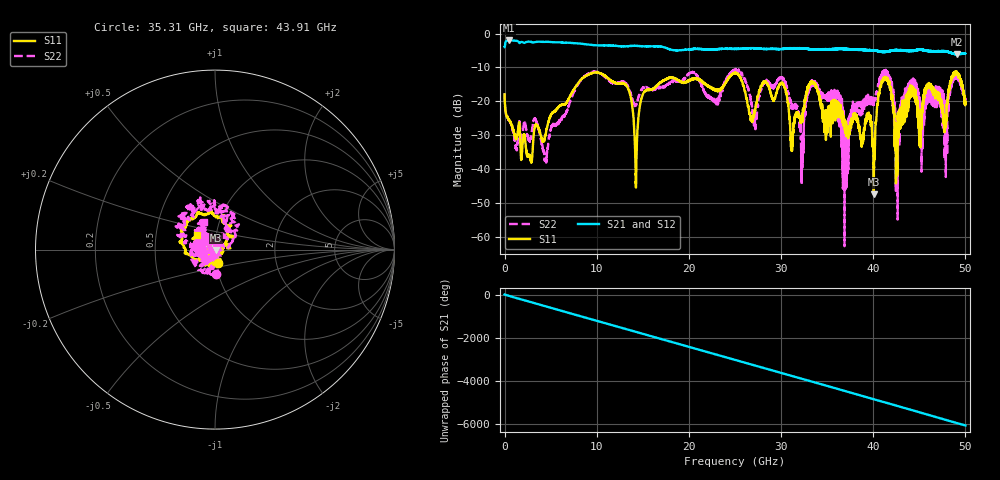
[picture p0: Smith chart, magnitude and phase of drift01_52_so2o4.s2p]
!Created with skrf (http://scikit-rf.org).
# Hz S RI R 50.0
!freq ReS11 ImS11 ReS21 ImS21 ReS12 ImS12 ReS22 ImS22
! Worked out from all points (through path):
!   10001 points, 300 kHz to 50 GHz, reference 50 ohm
!   highest |S21| = -2.00 dB at 490.3 MHz (marker M1); lowest = -6.1 dB at 49.05 GHz (marker M2)
!   group delay of S21, straight-line fit = 336 ps
!   lowest |S11| = -47.5 dB at 40.06 GHz (marker M3), VSWR 1.01, Z = 50.4 - j0.194 ohm
!   |S11| at or under -10 dB: start of sweep to end of sweep
!   |S22| runs from -62.9 to -10.4 dB; largest |S21 - S12| = 0.022
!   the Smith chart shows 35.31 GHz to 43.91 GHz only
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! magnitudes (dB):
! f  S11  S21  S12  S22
! 300 kHz  -17.9  -3.9  -4.0  -17.7
! 490.3 MHz  -25.5  -2.0  -2.0  -25.4
! 4.435 GHz  -30.0  -2.4  -2.4  -37.1
! 8.335 GHz  -13.5  -3.0  -3.0  -13.5
! 13.16 GHz  -15.2  -3.8  -3.7  -14.7
! 14.25 GHz  -45.5  -3.6  -3.6  -21.1
! 16.67 GHz  -14.9  -3.7  -3.7  -15.9
! 25 GHz  -11.6  -4.5  -4.6  -11.1
! 27.14 GHz  -22.5  -4.3  -4.3  -25.1
! 30.2 GHz  -15.1  -4.5  -4.5  -13.2
! 31.14 GHz  -33.8  -4.3  -4.3  -21.6
! 32.24 GHz  -24.6  -4.3  -4.3  -44.8
! 33.34 GHz  -14.3  -4.7  -4.6  -14.1
! 37.07 GHz  -28.8  -4.6  -4.6  -32.0
! 40.06 GHz  -47.5  -5.0  -4.9  -20.8
! 41.67 GHz  -14.5  -5.2  -5.2  -12.3
! 42.55 GHz  -28.7  -4.8  -4.8  -25.4
! 44.15 GHz  -18.6  -5.1  -5.0  -14.3
! 45.33 GHz  -21.3  -4.7  -4.7  -23.8
! 47.75 GHz  -28.4  -5.2  -5.2  -29.0
! 49.05 GHz  -11.9  -6.1  -6.1  -12.2
! 50 GHz  -20.3  -5.8  -5.8  -19.6
